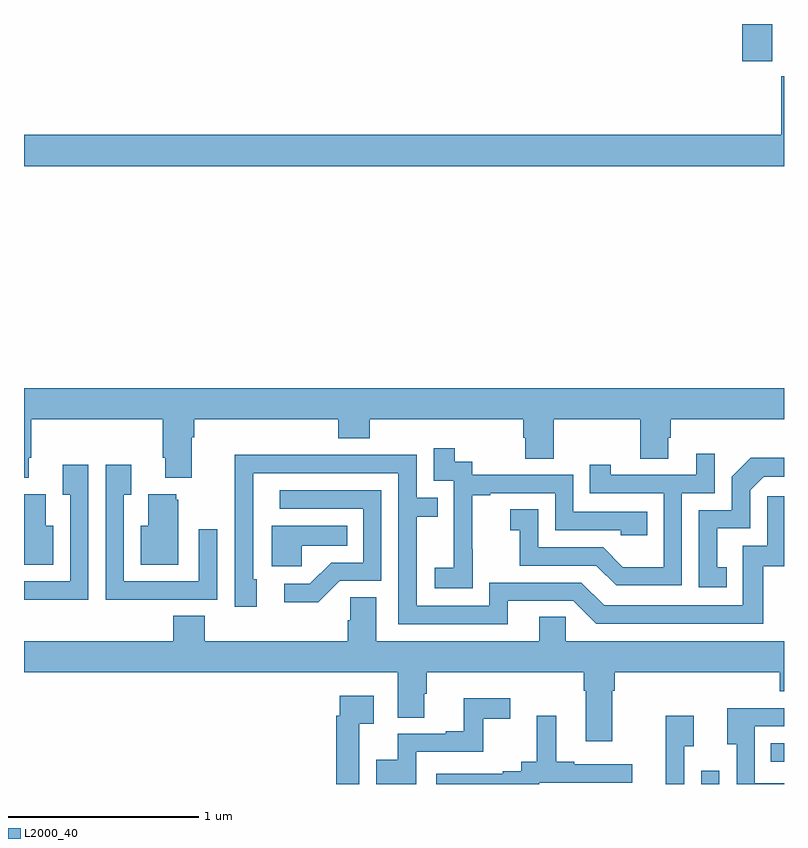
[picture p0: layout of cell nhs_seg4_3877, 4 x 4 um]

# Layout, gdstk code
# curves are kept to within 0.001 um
import gdstk
lib = gdstk.Library(unit=1e-6, precision=1e-09)
def R(c, l, rs):  # rectangles x0, y0, x1, y1
    for r in rs: c.add(gdstk.rectangle(r[:2], r[2:], *l))
def P(c, l, *ps):  # polygons
    for p in ps: c.add(gdstk.Polygon(p, *l))
L2000_40 = (2000, 40)

nhs_seg4_3877 = lib.new_cell('nhs_seg4_3877')
R(nhs_seg4_3877, L2000_40, [(318.564,794.9,318.66,794.971), (318.931,795.018,319,795.114), (318.779,798.705,318.939,798.9)])
P(nhs_seg4_3877, L2000_40, [(319,798.625),(318.986,798.625),(318.986,798.316),(315,798.316),(315,798.152),(319,798.152)],
  [(315,796.511),(315.025,796.511),(315.025,796.618),(315.038,796.618),(315.038,796.82),(315.731,796.82),(315.731,796.618),(315.743,796.618),(315.743,796.511),(315.883,796.511),(315.883,796.724),(315.896,796.724),(315.896,796.82),(316.655,796.82),(316.655,796.721),(316.82,796.721),(316.82,796.82),(317.627,796.82),(317.627,796.722),(317.639,796.722),(317.639,796.612),(317.787,796.612),(317.787,796.82),(318.244,796.82),(318.244,796.612),(318.391,796.612),(318.391,796.722),(318.404,796.722),(318.404,796.82),(319,796.82),(319,796.984),(315,796.984)],
  [(317.361,796.135),(317.36,796.135),(317.36,796.419),(317.455,796.419),(317.455,796.431),(317.796,796.431),(317.796,796.236),(318.141,796.236),(318.141,796.209),(318.281,796.209),(318.281,796.332),(317.892,796.332),(317.892,796.527),(317.358,796.527),(317.358,796.596),(317.266,796.596),(317.266,796.666),(317.157,796.666),(317.157,796.497),(317.262,796.497),(317.262,796.268),(317.261,796.268),(317.261,796.039),(317.163,796.039),(317.163,795.929),(317.361,795.929)],
  [(318.462,796.431),(318.636,796.431),(318.636,796.639),(318.539,796.639),(318.539,796.527),(318.088,796.527),(318.088,796.579),(317.977,796.579),(317.977,796.431),(318.366,796.431),(318.366,796.042),(318.152,796.042),(318.048,796.146),(317.706,796.146),(317.706,796.345),(317.559,796.345),(317.559,796.235),(317.608,796.235),(317.608,796.05),(318.011,796.05),(318.116,795.945),(318.462,795.945)],
  [(317.545,795.864),(317.892,795.864),(318.012,795.744),(318.892,795.744),(318.892,796.047),(319,796.047),(319,796.414),(318.912,796.414),(318.912,796.155),(318.783,796.155),(318.783,795.84),(318.054,795.84),(317.934,795.96),(317.448,795.96),(317.448,795.837),(317.067,795.837),(317.067,796.306),(317.177,796.306),(317.177,796.407),(317.067,796.407),(317.067,796.632),(316.571,796.632),(316.571,796.634),(316.108,796.634),(316.108,796.327),(316.11,796.327),(316.11,795.834),(316.225,795.834),(316.225,795.978),(316.206,795.978),(316.207,796.536),(316.971,796.536),(316.971,795.741),(317.545,795.741)],
  [(318.698,796.041),(318.649,796.041),(318.649,796.245),(318.822,796.245),(318.822,796.446),(318.894,796.518),(319,796.518),(319,796.616),(318.824,796.616),(318.726,796.518),(318.726,796.341),(318.552,796.341),(318.552,795.936),(318.698,795.936)],
  [(315.339,796.579),(315.203,796.579),(315.203,796.423),(315.243,796.423),(315.243,795.966),(315,795.966),(315,795.87),(315.067,795.87),(315.067,795.869),(315.339,795.869)],
  [(315.701,795.87),(316.017,795.87),(316.017,796.24),(315.921,796.24),(315.921,795.966),(315.525,795.966),(315.525,796.423),(315.565,796.423),(315.565,796.579),(315.429,796.579),(315.429,795.869),(315.701,795.869)],
  [(316.662,795.969),(316.881,795.969),(316.881,796.446),(316.347,796.446),(316.347,796.35),(316.785,796.35),(316.785,796.065),(316.616,796.065),(316.505,795.954),(316.371,795.954),(316.371,795.857),(316.549,795.857)],
  [(315.154,796.258),(315.115,796.258),(315.115,796.426),(315,796.426),(315,796.055),(315.154,796.055)],
  [(315.811,796.395),(315.8,796.395),(315.8,796.426),(315.653,796.426),(315.653,796.258),(315.614,796.258),(315.614,796.055),(315.811,796.055)],
  [(316.461,796.154),(316.7,796.154),(316.7,796.258),(316.304,796.258),(316.304,796.046),(316.461,796.046)],
  [(317.85,795.779),(317.711,795.779),(317.711,795.652),(316.855,795.652),(316.855,795.884),(316.716,795.884),(316.716,795.761),(316.703,795.761),(316.703,795.652),(315.95,795.652),(315.95,795.785),(315.785,795.785),(315.785,795.652),(315,795.652),(315,795.488),(316.967,795.488),(316.967,795.25),(317.107,795.25),(317.107,795.375),(317.12,795.375),(317.12,795.488),(317.945,795.488),(317.945,795.392),(317.957,795.392),(317.957,795.126),(318.097,795.126),(318.097,795.392),(318.11,795.392),(318.11,795.488),(318.977,795.488),(318.977,795.389),(319,795.389),(319,795.652),(317.85,795.652)],
  [(316.765,795.218),(316.84,795.218),(316.84,795.364),(316.661,795.364),(316.661,795.26),(316.644,795.26),(316.644,794.9),(316.765,794.9)],
  [(317.064,795.069),(317.417,795.069),(317.417,795.243),(317.56,795.243),(317.56,795.352),(317.315,795.352),(317.315,795.178),(317.219,795.178),(317.219,795.165),(316.967,795.165),(316.967,795.028),(316.853,795.028),(316.853,794.9),(317.064,794.9)],
  [(319,794.904),(318.846,794.904),(318.846,795.204),(319,795.204),(319,795.3),(318.701,795.3),(318.701,795.11),(318.75,795.11),(318.75,794.9),(319,794.9)],
  [(317.712,794.907),(318.202,794.907),(318.202,795.003),(317.896,795.003),(317.896,795.016),(317.8,795.016),(317.8,795.259),(317.698,795.259),(317.698,795.016),(317.616,795.016),(317.616,794.968),(317.519,794.968),(317.519,794.955),(317.169,794.955),(317.169,794.9),(317.712,794.9)],
  [(318.474,795.098),(318.526,795.098),(318.526,795.259),(318.377,795.259),(318.377,794.9),(318.474,794.9)])

lib.write_gds('nhs_seg4_3877.gds')
